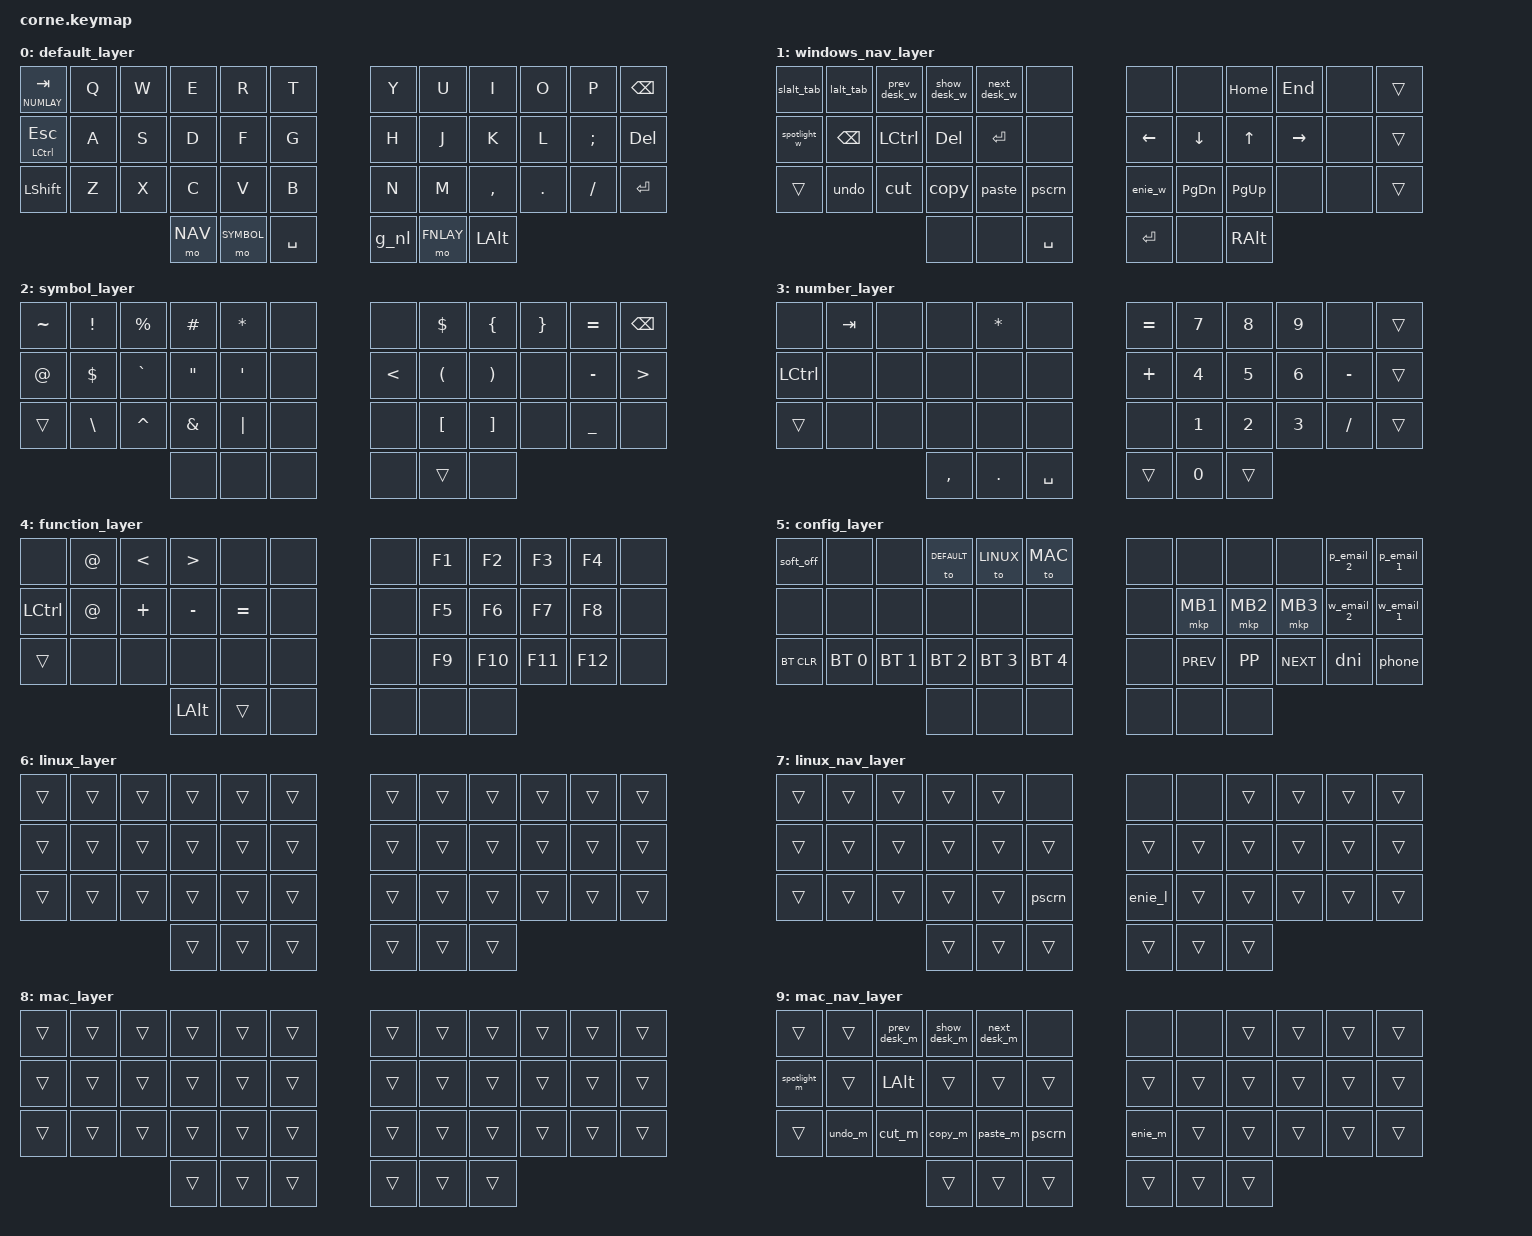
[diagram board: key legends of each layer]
/*
 * Copyright (c) 2020 The ZMK Contributors
 *
 * SPDX-License-Identifier: MIT
 */

#include <behaviors.dtsi>
#include <dt-bindings/zmk/keys.h>
#include <dt-bindings/zmk/bt.h>
#include <dt-bindings/zmk/outputs.h>
#include <dt-bindings/zmk/mouse.h>

#define DEFAULT 0
#define NAV 1
#define SYMBOL 2
#define NUMLAY 3
#define FNLAY 4
#define CONFIG 5
#define LINUX 6
#define LINUX_NAV 7
#define MAC 8
#define MAC_NAV 9

/ {
        behaviors {
            g_nl: gui_numlayer {
                label = "gui_numlayer";
                compatible = "zmk,behavior-tap-dance";
                #binding-cells = <0>;
                tapping-term-ms = <300>;
                bindings = <&kp LGUI>, <&mo NUMLAY>;
            };
        };

        macros {
          // ========================================================================================================
          // =========================================== WINDOWS MACROS =============================================
          // ========================================================================================================
            next_desk_w: next_desk_w {
                label = "next_desk_w";
                compatible = "zmk,behavior-macro";
                #binding-cells = <0>;
                bindings
                    = <&kp LC(LG(RIGHT))>;
                    };
            prev_desk_w: prev_desk_w {
                label = "prev_desk_w";
                compatible = "zmk,behavior-macro";
                #binding-cells = <0>;
                bindings
                    = <&kp LC(LG(LEFT))>;
                    };
            show_desk_w: show_desk_w {
                label = "show_desk_w";
                compatible = "zmk,behavior-macro";
                #binding-cells = <0>;
                bindings
                    = <&kp LG(TAB)>;
                    };
            spotlight_w: spotlight_w {
                label = "spotlight_w";
                compatible = "zmk,behavior-macro";
                #binding-cells = <0>;
                bindings
                    = <&kp LA(SPACE)>;
                    };
            enie_w: enie_w {
                label = "enie_w";
                compatible = "zmk,behavior-macro";
                #binding-cells = <0>;
                wait-ms = <5>;
                tap-ms = <5>;
                bindings = <&macro_press &kp LALT>
                    , <&macro_tap &kp KP_N0 &kp KP_N2 &kp KP_N4 &kp KP_N1>
                    , <&macro_release &kp LALT>
                    ;
                    };

          // ========================================================================================================
          // =========================================== MAC MACROS =================================================
          // ========================================================================================================

            next_desk_m: next_desk_m {
                label = "next_desk_m";
                compatible = "zmk,behavior-macro";
                #binding-cells = <0>;
                bindings
                    = <&kp LC(RIGHT)>;
                    };
            prev_desk_m: prev_desk_m {
                label = "prev_desk_m";
                compatible = "zmk,behavior-macro";
                #binding-cells = <0>;
                bindings
                    = <&kp LC(LEFT)>;
                    };
            show_desk_m: show_desk_m {
                label = "show_desk_m";
                compatible = "zmk,behavior-macro";
                #binding-cells = <0>;
                bindings
                    = <&kp LC(UP)>;
                    };
            enie_m: enie_m {
                label = "enie_m";
                compatible = "zmk,behavior-macro";
                #binding-cells = <0>;
                bindings = <&kp LA(N) &kp N>
                    ;
                    };

            spotlight_m: spotlight_m {
                label = "spotlight_m";
                compatible = "zmk,behavior-macro";
                #binding-cells = <0>;
                bindings
                    = <&kp LG(SPACE)>;
                    };
            undo_m: undo_m {
                label = "undo_m";
                compatible = "zmk,behavior-macro";
                #binding-cells = <0>;
                bindings
                    = <&kp LG(Z)> ;
                    };

            cut_m: cut_m {
                label = "cut_m";
                compatible = "zmk,behavior-macro";
                #binding-cells = <0>;
                bindings
                    = <&kp LG(X)> ;
                    };

            copy_m: copy_m {
                label = "copy_m";
                compatible = "zmk,behavior-macro";
                #binding-cells = <0>;
                bindings
                    = <&kp LG(C)> ;
                    };

            paste_m: paste_m {
                label = "paste_m";
                compatible = "zmk,behavior-macro";
                #binding-cells = <0>;
                bindings
                    = <&kp LG(V)> ;
                    };

          // ========================================================================================================
          // =========================================== LINUX MACROS ===============================================
          // ========================================================================================================

            next_desk_l: next_desk_l {
                label = "next_desk_l";
                compatible = "zmk,behavior-macro";
                #binding-cells = <0>;
                bindings
                    = <&kp LC(LA(RIGHT))>;
                    };
            prev_desk_l: prev_desk_l {
                label = "prev_desk_l";
                compatible = "zmk,behavior-macro";
                #binding-cells = <0>;
                bindings
                    = <&kp LC(LA(LEFT))>;
                    };
            show_desk_l: show_desk_l {
                label = "show_desk_l";
                compatible = "zmk,behavior-macro";
                #binding-cells = <0>;
                bindings
                    = <&kp LGUI>;
                    };
            enie_l: enie_l {
                label = "enie_l";
                compatible = "zmk,behavior-macro";
                #binding-cells = <0>;
                wait-ms = <5>;
                tap-ms = <5>;
                bindings = <&kp LC(LS(U))>
                    , <&kp N0 &kp N0 &kp F &kp N1 &kp RET>
                    ;
                    };
            spotlight_l: spotlight_l {
                label = "spotlight_l";
                compatible = "zmk,behavior-macro";
                #binding-cells = <0>;
                wait-ms = <100>;
                bindings
                    = <&kp LGUI &kp LGUI>;
                    };
          // ========================================================================================================
          // =========================================== GENERAL MACROS =============================================
          // ========================================================================================================

            dni: dni {
                label = "dni_string";
                compatible = "zmk,behavior-macro";
                #binding-cells = <0>;
                wait-ms = <10>;
                tap-ms = <5>;
                bindings
                    = <&kp N3 &kp N8 &kp N5 &kp N2 &kp N1 &kp N9 &kp N9 &kp N1>;
                    };

            phone: phone {
                label = "phone";
                compatible = "zmk,behavior-macro";
                wait-ms = <10>;
                tap-ms = <5>;
                #binding-cells = <0>;
                bindings
                    = <&kp N1 &kp N1 &kp N6 &kp N4 &kp N4 &kp N8 &kp N4 &kp N7 &kp N1 &kp N5>;
                    };

            p_email_1: p_email_1 {
                label = "p_email_1";
                compatible = "zmk,behavior-macro";
                wait-ms = <10>;
                tap-ms = <5>;
                #binding-cells = <0>;
                bindings
                    = <&kp K &kp E &kp N &kp J &kp I &kp M &kp A &kp R &kp T &kp I &kp N &kp U &kp S &kp H &kp I &kp R &kp O>,
                    <&kp AT &kp G &kp M &kp A &kp I &kp L &kp DOT &kp C &kp O &kp M> ;
                    };

            p_email_2: p_email_2 {
                label = "p_email_2";
                compatible = "zmk,behavior-macro";
                wait-ms = <10>;
                tap-ms = <5>;
                #binding-cells = <0>;
                bindings
                    = <&kp K &kp E &kp N &kp J &kp I &kp U &kp S &kp H &kp I &kp R &kp O>,
                    <&kp AT &kp L &kp I &kp V &kp E &kp DOT &kp C &kp O &kp M> ;
                    };

            w_email_1: w_email_1 {
                label = "w_email_1";
                compatible = "zmk,behavior-macro";
                wait-ms = <10>;
                tap-ms = <5>;
                #binding-cells = <0>;
                bindings
                    = <&kp K &kp E &kp N &kp J &kp I &kp DOT &kp U &kp S &kp H &kp I &kp R &kp O>,
                    <&kp AT &kp C &kp R &kp A &kp F &kp T &kp L &kp A &kp B &kp S &kp DOT &kp N &kp E &kp T> ;
                    };

            w_email_2: w_email_2 {
                label = "w_email_2";
                compatible = "zmk,behavior-macro";
                wait-ms = <10>;
                tap-ms = <5>;
                #binding-cells = <0>;
                bindings
                    = <&kp K &kp E &kp N &kp J &kp I &kp DOT &kp M &kp DOT &kp U &kp S &kp H &kp I &kp R &kp O>,
                    <&kp AT &kp G &kp S &kp K &kp DOT &kp C &kp O &kp M> ;
                    };

            pscrn: pscrn {
                label = "pscrn";
                compatible = "zmk,behavior-macro";
                #binding-cells = <0>;
                bindings
                    = <&kp PRINTSCREEN>;
                    };

            undo: undo {
                label = "undo";
                compatible = "zmk,behavior-macro";
                #binding-cells = <0>;
                bindings
                    = <&kp LC(Z)> ;
                    };

            cut: cut {
                label = "cut";
                compatible = "zmk,behavior-macro";
                #binding-cells = <0>;
                bindings
                    = <&kp LC(X)> ;
                    };

            copy: copy {
                label = "copy";
                compatible = "zmk,behavior-macro";
                #binding-cells = <0>;
                bindings
                    = <&kp LC(C)> ;
                    };

            paste: paste {
                label = "paste";
                compatible = "zmk,behavior-macro";
                #binding-cells = <0>;
                bindings
                    = <&kp LC(V)> ;
                    };

            lalt_tab: lalt_tab {
                label = "lalt_tab";
                compatible = "zmk,behavior-macro";
                #binding-cells = <0>;
                bindings
                    =
                      <&macro_press &mo 1 &kp LALT>
                      ,<&macro_tap &kp TAB>
                      ,<&macro_release &mo 1 &kp LALT>;
                    };

            slalt_tab: slalt_tab {
                label = "slalt_tab";
                compatible = "zmk,behavior-macro";
                #binding-cells = <0>;
                bindings
                    = <&kp LS(LA(TAB))> ;
                    };

        };

        conditional_layers {
            compatible = "zmk,conditional-layers";
            config_layer {
                if-layers = <SYMBOL FNLAY>;
                then-layer = <CONFIG>;
            };
            linux_conditional_layer {
                if-layers = <NAV LINUX>;
                then-layer = <LINUX_NAV>;
            };
            mac_conditional_layer {
                if-layers = <NAV MAC>;
                then-layer = <MAC_NAV>;
            };
        };

        keymap {
                compatible = "zmk,keymap";

//        ╭──────────┬────────────┬────────────┬────────────┬────────────┬────────────╮      ╭──────────┬────────────┬────────────┬────────────┬────────────┬───────────╮
//        │   TAB    │     Q      │     W      │     E      │     R      │     T      │      │    Y     │     U      │     I      │     O      │     P      │ BACKSPACE │
//        ├──────────┼────────────┼────────────┼────────────┼────────────┼────────────┤      ├──────────┼────────────┼────────────┼────────────┼────────────┼───────────┤
//        │   CTRL   │     A      │     S      │     D      │     F      │     G      │      │    H     │     J      │     K      │     L      │     ;      │    DEL    │
//        ├──────────┼────────────┼────────────┼────────────┼────────────┼────────────┤      ├──────────┼────────────┼────────────┼────────────┼────────────┼───────────┤
//        │   SHIFT  │     Z      │     X      │     C      │     V      │     B      │      │    N     │     M      │     ,      │     .      │     /      │   ENTER   │
//        ╰──────────┴────────────┴────────────┴──┬─────────┴──┬─────────┴──┬─────────┴──╮╭──┴───────┬──┴─────────┬──┴─────────┬──┴────────────┴────────────┴───────────╯
//                                                │ NAV_LAYER  │SYMBOL_LAYER│   SPACE    ││   GUI    │  FN_LAYER  │    ALT     │
//                                                ╰────────────┴────────────┴────────────╯╰──────────┴────────────┴────────────╯

                default_layer {
                        bindings = <

//╭──────────┬────────────┬────────────┬────────────┬────────────┬────────────╮      ╭──────────┬────────────┬────────────┬────────────┬────────────┬──────────╮
   &lt NUMLAY TAB  &kp Q   &kp W        &kp E        &kp R        &kp T               &kp Y      &kp U        &kp I        &kp O        &kp P        &kp BSPC
//├───TAB────┼─────Q──────┼─────W──────┼─────E──────┼─────R──────┼─────T──────┤      ├────Y─────┼─────U──────┼─────I──────┼─────O──────┼─────P──────┼──BKSPC───┤
   &mt LCTRL ESC &kp A     &kp S        &kp D        &kp F        &kp G               &kp H      &kp J        &kp K        &kp L        &kp SEMI     &kp DEL
//│───CTRL───┼─────A──────┼─────S──────┼─────D──────┼─────F──────┼─────G──────┤      ├────H─────┼─────J──────┼─────K──────┼─────L──────┼─────;──────┼───DEL────┤
   &kp LSHFT  &kp Z        &kp X        &kp C        &kp V        &kp B               &kp N      &kp M        &kp COMMA    &kp DOT      &kp FSLH     &kp RET
//╰───SHFT───┴─────Z──────┴─────X──────┴──┬──C──────┴──┬──V──────┴──┬──B──────┴──╮╭──┴────N──┬──┴─────M───┬──┴───COMMA─┬──┴────DOT─────┴─────/──────┴──ENTER───╯
                                           &mo NAV      &mo SYMBOL   &kp SPACE     &g_nl      &mo FNLAY    &kp LALT
//                                        ╰───NAV_LYR──┴───SYM_LYR──┴───SPACE────╯╰───LGUI───┴───FN_LYR───┴────LALT────╯
                        >;
                };

                windows_nav_layer {
                        bindings = <
//╭──────────┬────────────┬────────────┬────────────┬────────────┬────────────╮      ╭──────────┬────────────┬────────────┬────────────┬────────────┬──────────╮
   &slalt_tab &lalt_tab    &prev_desk_w &show_desk_w &next_desk_w &none               &none      &none        &kp HOME     &kp END      &none        &trans
//├───TAB────┼─────Q──────┼─────W──────┼─────E──────┼─────R──────┼─────T──────┤      ├────Y─────┼─────U──────┼─────I──────┼─────O──────┼─────P──────┼──BKSPC───┤
   &spotlight_w &kp BSPC   &kp LCTRL    &kp DEL      &kp RET      &none               &kp LEFT   &kp DOWN     &kp UP       &kp RIGHT    &none        &trans
//│───CTRL───┼─────A──────┼─────S──────┼─────D──────┼─────F──────┼─────G──────┤      ├────H─────┼─────J──────┼─────K──────┼─────L──────┼─────;──────┼───DEL────┤
   &trans     &undo        &cut         &copy        &paste       &pscrn              &enie_w    &kp PG_DN    &kp PG_UP    &none        &none        &trans
//╰───SHFT───┴─────Z──────┴─────X──────┴──┬──C──────┴──┬──V──────┴──┬──B──────┴──╮╭──┴────N──┬──┴─────M───┬──┴───COMMA─┬──┴────DOT─────┴─────/──────┴──ENTER───╯
                                           &none        &none        &kp SPACE     &kp RET    &none        &kp RALT
//                                        ╰───NAV_LYR──┴───SYM_LYR──┴───SPACE────╯╰───LGUI───┴───FN_LYR───┴────LALT────╯
                        >;
                };

                symbol_layer {
                        bindings = <
//╭──────────┬────────────┬────────────┬────────────┬────────────┬────────────╮      ╭──────────┬────────────┬────────────┬────────────┬────────────┬──────────╮
   &kp TILDE  &kp EXCL     &kp PRCNT    &kp HASH     &kp ASTRK    &none               &none      &kp DOLLAR   &kp LBRC     &kp RBRC     &kp EQUAL    &kp BSPC
//├───TAB────┼─────Q──────┼─────W──────┼─────E──────┼─────R──────┼─────T──────┤      ├────Y─────┼─────U──────┼─────I──────┼─────O──────┼─────P──────┼──BKSPC───┤
   &kp AT     &kp DOLLAR   &kp GRAVE    &kp DQT      &kp SQT      &none               &kp LT     &kp LPAR     &kp RPAR     &none        &kp MINUS    &kp GT
//│───CTRL───┼─────A──────┼─────S──────┼─────D──────┼─────F──────┼─────G──────┤      ├────H─────┼─────J──────┼─────K──────┼─────L──────┼─────;──────┼───DEL────┤
   &trans     &kp BSLH     &kp CARET    &kp AMPS     &kp PIPE     &none               &none      &kp LBKT     &kp RBKT     &none        &kp UNDER    &none
//╰───SHFT───┴─────Z──────┴─────X──────┴──┬──C──────┴──┬──V──────┴──┬──B──────┴──╮╭──┴────N──┬──┴─────M───┬──┴───COMMA─┬──┴────DOT─────┴─────/──────┴──ENTER───╯
                                           &none        &none        &none         &none      &trans       &none
//                                        ╰───NAV_LYR──┴───SYM_LYR──┴───SPACE────╯╰───LGUI───┴───FN_LYR───┴────LALT────╯
                        >;
                };

                number_layer {
                        bindings = <
//╭──────────┬────────────┬────────────┬────────────┬────────────┬────────────╮      ╭──────────┬────────────┬────────────┬────────────┬────────────┬──────────╮
   &none      &kp TAB      &none        &none        &kp ASTRK    &none               &kp EQUAL  &kp N7       &kp N8       &kp N9       &none        &trans
//├───TAB────┼─────Q──────┼─────W──────┼─────E──────┼─────R──────┼─────T──────┤      ├────Y─────┼─────U──────┼─────I──────┼─────O──────┼─────P──────┼──BKSPC───┤
   &kp LCTRL  &none        &none        &none        &none        &none               &kp PLUS   &kp N4       &kp N5       &kp N6       &kp MINUS    &trans
//│───CTRL───┼─────A──────┼─────S──────┼─────D──────┼─────F──────┼─────G──────┤      ├────H─────┼─────J──────┼─────K──────┼─────L──────┼─────;──────┼───DEL────┤
   &trans     &none        &none        &none        &none        &none               &none      &kp N1       &kp N2       &kp N3       &kp SLASH    &trans
//╰───SHFT───┴─────Z──────┴─────X──────┴──┬──C──────┴──┬──V──────┴──┬──B──────┴──╮╭──┴────N──┬──┴─────M───┬──┴───COMMA─┬──┴────DOT─────┴─────/──────┴──ENTER───╯
                                           &kp COMMA    &kp DOT      &kp SPACE     &trans     &kp N0       &trans
//                                        ╰───NAV_LYR──┴───SYM_LYR──┴───SPACE────╯╰───LGUI───┴───FN_LYR───┴────LALT────╯
                        >;
                };

                function_layer {
                        bindings = <
//╭──────────┬────────────┬────────────┬────────────┬────────────┬────────────╮      ╭──────────┬────────────┬────────────┬────────────┬────────────┬──────────╮
   &none      &kp AT       &kp LT       &kp GT       &none        &none               &none      &kp F1       &kp F2       &kp F3       &kp F4       &none
//├───TAB────┼─────Q──────┼─────W──────┼─────E──────┼─────R──────┼─────T──────┤      ├────Y─────┼─────U──────┼─────I──────┼─────O──────┼─────P──────┼──BKSPC───┤
   &kp LCTRL  &kp AT       &kp PLUS     &kp MINUS    &kp EQUAL    &none               &none      &kp F5       &kp F6       &kp F7       &kp F8       &none
//│───CTRL───┼─────A──────┼─────S──────┼─────D──────┼─────F──────┼─────G──────┤      ├────H─────┼─────J──────┼─────K──────┼─────L──────┼─────;──────┼───DEL────┤
   &trans     &none        &none        &none        &none        &none               &none      &kp F9       &kp F10      &kp F11      &kp F12      &none
//╰───SHFT───┴─────Z──────┴─────X──────┴──┬──C──────┴──┬──V──────┴──┬──B──────┴──╮╭──┴────N──┬──┴─────M───┬──┴───COMMA─┬──┴────DOT─────┴─────/──────┴──ENTER───╯
                                           &kp LALT     &trans       &none         &none      &none        &none
//                                        ╰───NAV_LYR──┴───SYM_LYR──┴───SPACE────╯╰───LGUI───┴───FN_LYR───┴────LALT────╯
                        >;
                };

                config_layer {
                        bindings = <
//╭──────────┬────────────┬────────────┬────────────┬────────────┬────────────╮      ╭──────────┬────────────┬────────────┬────────────┬────────────┬──────────╮
   &soft_off  &none        &none        &to DEFAULT  &to LINUX    &to MAC             &none      &none        &none        &none        &p_email_2   &p_email_1
//├───TAB────┼─────Q──────┼─────W──────┼─────E──────┼─────R──────┼─────T──────┤      ├────Y─────┼─────U──────┼─────I──────┼─────O──────┼─────P──────┼──BKSPC───┤
   &none      &none        &none        &none        &none        &none              &none      &mkp MB1     &mkp MB2     &mkp MB3     &w_email_2   &w_email_1
//│───CTRL───┼─────A──────┼─────S──────┼─────D──────┼─────F──────┼─────G──────┤      ├────H─────┼─────J──────┼─────K──────┼─────L──────┼─────;──────┼───DEL────┤
   &bt BT_CLR &bt BT_SEL 0 &bt BT_SEL 1 &bt BT_SEL 2 &bt BT_SEL 3 &bt BT_SEL 4        &none      &kp K_PREV   &kp K_PP     &kp K_NEXT   &dni         &phone
//╰───SHFT───┴─────Z──────┴─────X──────┴──┬──C──────┴──┬──V──────┴──┬──B──────┴──╮╭──┴────N──┬──┴─────M───┬──┴───COMMA─┬──┴────DOT─────┴─────/──────┴──ENTER───╯
                                           &none        &none        &none         &none      &none        &none
//                                        ╰───NAV_LYR──┴───SYM_LYR──┴───SPACE────╯╰───LGUI───┴───FN_LYR───┴────LALT────╯
                        >;
                };

                linux_layer {
                        bindings = <
//╭──────────┬────────────┬────────────┬────────────┬────────────┬────────────╮      ╭──────────┬────────────┬────────────┬────────────┬────────────┬──────────╮
   &trans     &trans       &trans       &trans       &trans       &trans              &trans     &trans       &trans       &trans       &trans       &trans
//├───TAB────┼─────Q──────┼─────W──────┼─────E──────┼─────R──────┼─────T──────┤      ├────Y─────┼─────U──────┼─────I──────┼─────O──────┼─────P──────┼──BKSPC───┤
   &trans     &trans       &trans       &trans       &trans       &trans              &trans     &trans       &trans       &trans       &trans       &trans
//│───CTRL───┼─────A──────┼─────S──────┼─────D──────┼─────F──────┼─────G──────┤      ├────H─────┼─────J──────┼─────K──────┼─────L──────┼─────;──────┼───DEL────┤
   &trans     &trans       &trans       &trans       &trans       &trans              &trans     &trans       &trans       &trans       &trans       &trans
//╰───SHFT───┴─────Z──────┴─────X──────┴──┬──C──────┴──┬──V──────┴──┬──B──────┴──╮╭──┴────N──┬──┴─────M───┬──┴───COMMA─┬──┴────DOT─────┴─────/──────┴──ENTER───╯
                                           &trans       &trans       &trans        &trans     &trans       &trans
//                                        ╰───NAV_LYR──┴───SYM_LYR──┴───SPACE────╯╰───LGUI───┴───FN_LYR───┴────LALT────╯
                        >;
                };
                linux_nav_layer {
                        bindings = <
//╭──────────┬────────────┬────────────┬────────────┬────────────┬────────────╮      ╭──────────┬────────────┬────────────┬────────────┬────────────┬──────────╮
   &trans     &trans       &trans       &trans       &trans       &none               &none      &none        &trans       &trans       &trans       &trans
//├───TAB────┼─────Q──────┼─────W──────┼─────E──────┼─────R──────┼─────T──────┤      ├────Y─────┼─────U──────┼─────I──────┼─────O──────┼─────P──────┼──BKSPC───┤
   &trans     &trans       &trans       &trans       &trans       &trans              &trans     &trans       &trans       &trans       &trans       &trans
//│───CTRL───┼─────A──────┼─────S──────┼─────D──────┼─────F──────┼─────G──────┤      ├────H─────┼─────J──────┼─────K──────┼─────L──────┼─────;──────┼───DEL────┤
   &trans     &trans       &trans       &trans       &trans       &pscrn              &enie_l    &trans       &trans       &trans       &trans       &trans
//╰───SHFT───┴─────Z──────┴─────X──────┴──┬──C──────┴──┬──V──────┴──┬──B──────┴──╮╭──┴────N──┬──┴─────M───┬──┴───COMMA─┬──┴────DOT─────┴─────/──────┴──ENTER───╯
                                           &trans       &trans       &trans        &trans     &trans       &trans
//                                        ╰───NAV_LYR──┴───SYM_LYR──┴───SPACE────╯╰───LGUI───┴───FN_LYR───┴────LALT────╯
                        >;
                };

                mac_layer {
                        bindings = <
//╭──────────┬────────────┬────────────┬────────────┬────────────┬────────────╮      ╭──────────┬────────────┬────────────┬────────────┬────────────┬──────────╮
   &trans     &trans       &trans       &trans       &trans       &trans              &trans     &trans       &trans       &trans       &trans       &trans
//├───TAB────┼─────Q──────┼─────W──────┼─────E──────┼─────R──────┼─────T──────┤      ├────Y─────┼─────U──────┼─────I──────┼─────O──────┼─────P──────┼──BKSPC───┤
   &trans     &trans       &trans       &trans       &trans       &trans              &trans     &trans       &trans       &trans       &trans       &trans
//│───CTRL───┼─────A──────┼─────S──────┼─────D──────┼─────F──────┼─────G──────┤      ├────H─────┼─────J──────┼─────K──────┼─────L──────┼─────;──────┼───DEL────┤
   &trans     &trans       &trans       &trans       &trans       &trans              &trans     &trans       &trans       &trans       &trans       &trans
//╰───SHFT───┴─────Z──────┴─────X──────┴──┬──C──────┴──┬──V──────┴──┬──B──────┴──╮╭──┴────N──┬──┴─────M───┬──┴───COMMA─┬──┴────DOT─────┴─────/──────┴──ENTER───╯
                                           &trans       &trans       &trans        &trans     &trans       &trans
//                                        ╰───NAV_LYR──┴───SYM_LYR──┴───SPACE────╯╰───LGUI───┴───FN_LYR───┴────LALT────╯
                        >;
                };
                mac_nav_layer {
                        bindings = <
//╭──────────┬────────────┬────────────┬────────────┬────────────┬────────────╮      ╭──────────┬────────────┬────────────┬────────────┬────────────┬──────────╮
   &trans     &trans       &prev_desk_m &show_desk_m &next_desk_m &none               &none      &none        &trans       &trans       &trans       &trans
//├───TAB────┼─────Q──────┼─────W──────┼─────E──────┼─────R──────┼─────T──────┤      ├────Y─────┼─────U──────┼─────I──────┼─────O──────┼─────P──────┼──BKSPC───┤
   &spotlight_m &trans     &kp LALT     &trans       &trans       &trans              &trans     &trans       &trans       &trans       &trans       &trans
//│───CTRL───┼─────A──────┼─────S──────┼─────D──────┼─────F──────┼─────G──────┤      ├────H─────┼─────J──────┼─────K──────┼─────L──────┼─────;──────┼───DEL────┤
   &trans     &undo_m      &cut_m       &copy_m      &paste_m     &pscrn              &enie_m    &trans       &trans       &trans       &trans       &trans
//╰───SHFT───┴─────Z──────┴─────X──────┴──┬──C──────┴──┬──V──────┴──┬──B──────┴──╮╭──┴────N──┬──┴─────M───┬──┴───COMMA─┬──┴────DOT─────┴─────/──────┴──ENTER───╯
                                           &trans       &trans       &trans        &trans     &trans       &trans
//                                        ╰───NAV_LYR──┴───SYM_LYR──┴───SPACE────╯╰───LGUI───┴───FN_LYR───┴────LALT────╯
                        >;
                };
        };
};
